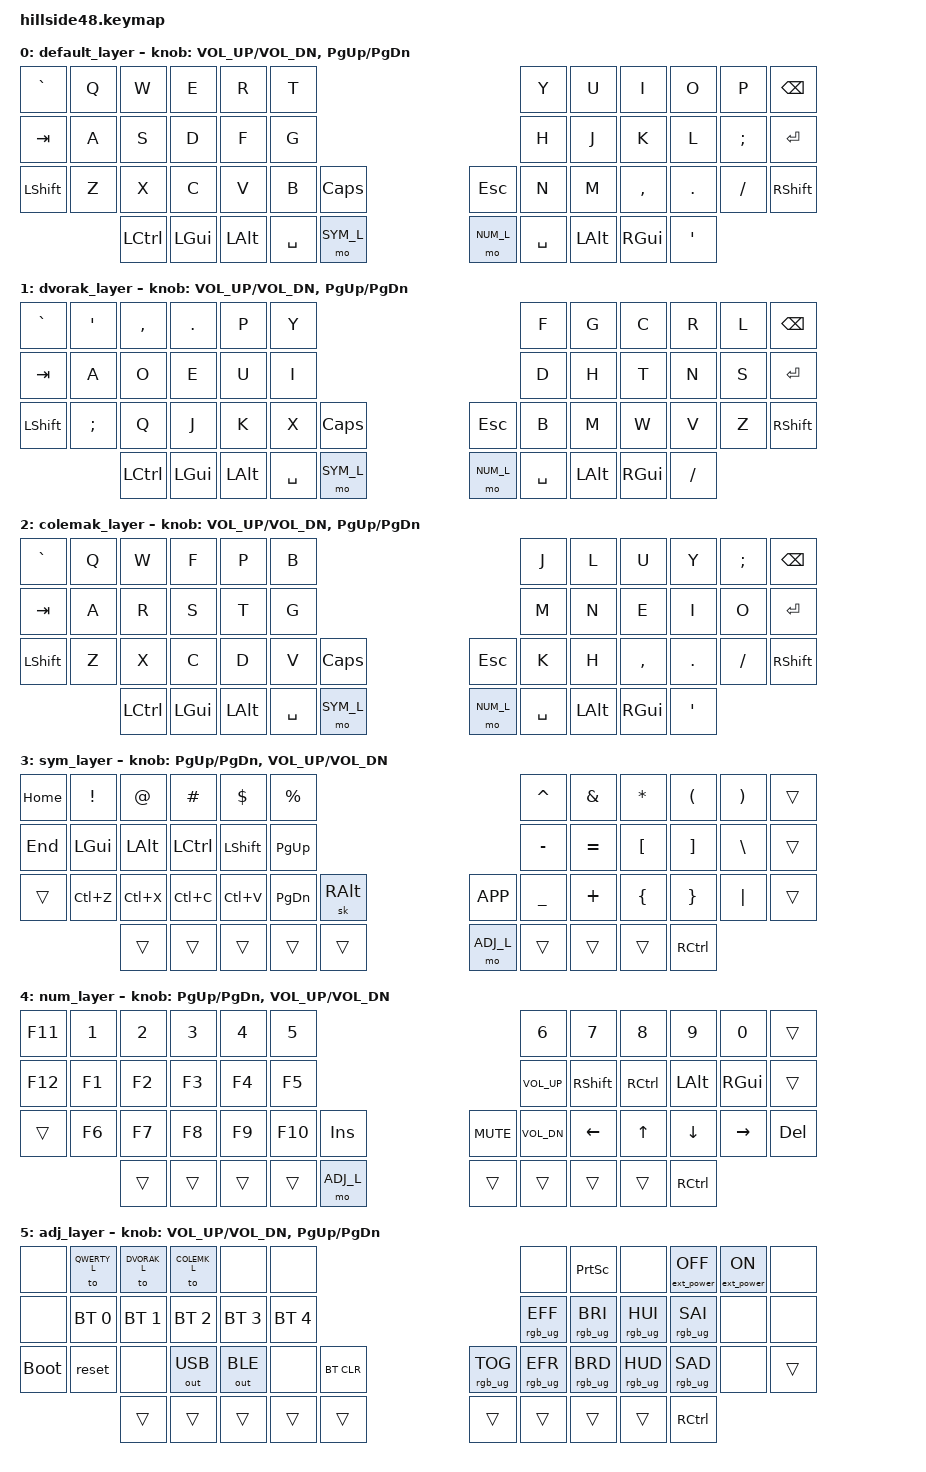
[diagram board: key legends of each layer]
/*
 * Copyright (c) 2022 The ZMK Contributors
 *
 * SPDX-License-Identifier: MIT
 */

#include <behaviors.dtsi>
#include <dt-bindings/zmk/bt.h>
#include <dt-bindings/zmk/ext_power.h>
#include <dt-bindings/zmk/keys.h>
#include <dt-bindings/zmk/outputs.h>
#include <dt-bindings/zmk/rgb.h>

#define QWERTY_L 0
#define DVORAK_L 1
#define COLEMK_L 2
#define SYM_L    3
#define NUM_L    4
#define ADJ_L    5

#define Undo   LC(Z)
#define Cut    LC(X)
#define Copy   LC(C)
#define Paste  LC(V)

/ {
        keymap {
                compatible = "zmk,keymap";

                default_layer {
/* QWERTY
 * -------------------------------------------------------------------------------------------------------------------------------------
 * | `     |   Q   |   W   |   E   |   R   |   T   |-----------------------------------|   Y   |   U   |   I   |   O   |   P   | BKSPC |
 * | TAB   |   A   |   S   |   D   |   F   |   G   |-----------------------------------|   H   |   J   |   K   |   L   |   ;   | ENTER |
 * | SHIFT |   Z   |   X   |   C   |   V   |   B   | CAPS  |-------------------|  ESC  |   N   |   M   |   ,   |   .   |   /   | SHIFT |
 * ----------------| CTRL  |-------|  GUI  |  ALT  | SPACE |  Sym  |---|  Num  | SPACE |  ALT  |  GUI  |-------|   '   |----------------
 */
                        bindings = <
&kp  GRAVE    &kp  Q        &kp  W        &kp  E        &kp  R        &kp  T                                                                         &kp  Y        &kp  U        &kp  I        &kp  O        &kp  P        &kp  BSPC
&kp  TAB      &kp  A        &kp  S        &kp  D        &kp  F        &kp  G                                                                         &kp  H        &kp  J        &kp  K        &kp  L        &kp  SEMI     &kp  ENTER  
&kp  LSHFT    &kp  Z        &kp  X        &kp  C        &kp  V        &kp  B        &kp  CAPS                                          &kp   ESC     &kp  N        &kp  M        &kp  COMMA    &kp  DOT      &kp  SLASH    &kp  RSHFT
                            &kp  LCTRL                  &kp  LGUI     &kp  LALT     &kp  SPACE    &mo  SYM_L             &mo  NUM_L    &kp  SPACE    &kp  LALT     &kp  RGUI                   &kp  SQT   
                        >;
			
                        sensor-bindings = <&inc_dec_kp C_VOL_UP C_VOL_DN &inc_dec_kp PG_UP PG_DN>;
                };
		
                dvorak_layer {
/* DVORAK
 * -------------------------------------------------------------------------------------------------------------------------------------
 * | `     |   '   |   ,   |   .   |   P   |   Y   |-----------------------------------|   F   |   G   |   C   |   R   |   L   | BKSPC |
 * | TAB   |   A   |   O   |   E   |   U   |   I   |-----------------------------------|   D   |   H   |   T   |   N   |   S   | ENTER |
 * | SHIFT |   ;   |   Q   |   J   |   K   |   X   | CAPS  |-------------------|  ESC  |   B   |   M   |   W   |   V   |   Z   | SHIFT |
 * ----------------| CTRL  |-------|  GUI  |  ALT  | SPACE |  Sym  |---|  Num  | SPACE |  ALT  |  GUI  |-------|   /   |----------------
 */
                        bindings = <
&kp  GRAVE    &kp  SQT      &kp  COMMA    &kp  DOT      &kp  P        &kp  Y                                                                         &kp  F        &kp  G        &kp  C        &kp  R        &kp  L        &kp  BSPC
&kp  TAB      &kp  A        &kp  O        &kp  E        &kp  U        &kp  I                                                                         &kp  D        &kp  H        &kp  T        &kp  N        &kp  S        &kp  ENTER
&kp  LSHFT    &kp  SEMI     &kp  Q        &kp  J        &kp  K        &kp  X        &kp  CAPS                                          &kp   ESC     &kp  B        &kp  M        &kp  W        &kp  V        &kp  Z        &kp  RSHFT
                            &kp  LCTRL                  &kp  LGUI     &kp  LALT     &kp  SPACE    &mo  SYM_L             &mo  NUM_L    &kp  SPACE    &kp  LALT     &kp  RGUI                   &kp  SLASH
                        >;
			
                        sensor-bindings = <&inc_dec_kp C_VOL_UP C_VOL_DN &inc_dec_kp PG_UP PG_DN>;
                };
		
                colemak_layer {
/* COLEMAK-DH
 * -------------------------------------------------------------------------------------------------------------------------------------
 * | `     |   Q   |   W   |   F   |   P   |   B   |-----------------------------------|   J   |   L   |   U   |   Y   |   ;   | BKSPC |
 * | TAB   |   A   |   R   |   S   |   T   |   G   |-----------------------------------|   M   |   N   |   E   |   I   |   O   | ENTER |
 * | SHIFT |   Z   |   X   |   C   |   D   |   V   | CAPS  |-------------------|  ESC  |   K   |   H   |   ,   |   .   |   /   | SHIFT |
 * ----------------| CTRL  |-------|  GUI  |  ALT  | SPACE |  Sym  |---|  Num  | SPACE |  ALT  |  GUI  |-------|   '   |----------------
 */
                        bindings = <
&kp  GRAVE    &kp  Q        &kp  W        &kp  F        &kp  P        &kp  B                                                                         &kp  J        &kp  L        &kp  U        &kp  Y        &kp  SEMI     &kp  BSPC
&kp  TAB      &kp  A        &kp  R        &kp  S        &kp  T        &kp  G                                                                         &kp  M        &kp  N        &kp  E        &kp  I        &kp  O        &kp  ENTER
&kp  LSHFT    &kp  Z        &kp  X        &kp  C        &kp  D        &kp  V        &kp  CAPS                                          &kp   ESC     &kp  K        &kp  H        &kp  COMMA    &kp  DOT      &kp  SLASH    &kp  RSHFT
                            &kp  LCTRL                  &kp  LGUI     &kp  LALT     &kp  SPACE    &mo  SYM_L             &mo  NUM_L    &kp  SPACE    &kp  LALT     &kp  RGUI                   &kp  SQT   
                        >;
			
                        sensor-bindings = <&inc_dec_kp C_VOL_UP C_VOL_DN &inc_dec_kp PG_UP PG_DN>;
                };
		
                sym_layer {
/* SYM
 * -------------------------------------------------------------------------------------------------------------------------------------
 * | HOME  |   !   |   @   |   #   |   $   |   %   |-----------------------------------|   ^   |   &   |   *   |   (   |   )   | BSPC  |
 * | END   |  GUI  |  Alt  | Ctrl  | Shift | Pg Up |-----------------------------------|   -   |   =   |   [   |   ]   |   \   | ENTER |
 * | Shift |  UnDo |  Cut  | Copy  | Paste | Pg Dn |OsAltGr|-------------------| MENU  |   _   |   +   |   {   |   }   |   |   | SHIFT |
 * ----------------|       |-------|       |       |       |       |---| ADJ_L |       |       |       |-------| CTRL  |----------------
 */
                        bindings = <
&kp  HOME     &kp  EXCL     &kp  AT       &kp  HASH     &kp  DOLLAR   &kp  PERCENT                                                                   &kp  CARET    &kp  AMPS     &kp  ASTRK    &kp  LPAR     &kp  RPAR     &trans
&kp  END      &kp  LGUI     &kp  LALT     &kp  LCTRL    &kp  LSHFT    &kp  PG_UP                                                                     &kp  MINUS    &kp  EQUAL    &kp  LBKT     &kp  RBKT     &kp  BSLH     &trans
&trans        &kp  Undo     &kp  Cut      &kp  Copy     &kp  Paste    &kp  PG_DN    &sk  RALT                                          &kp  K_APP    &kp  UNDER    &kp  PLUS     &kp  LBRC     &kp  RBRC     &kp  PIPE     &trans
                            &trans                      &trans        &trans        &trans        &trans                 &mo  ADJ_L    &trans        &trans        &trans                      &kp  RCTRL    
                        >;
			
                        sensor-bindings = <&inc_dec_kp PG_UP PG_DN &inc_dec_kp C_VOL_UP C_VOL_DN>;
                };
		
                num_layer {
/* NUM   
 * -------------------------------------------------------------------------------------------------------------------------------------
 * | F11   |   1   |   2   |   3   |   4   |   5   |-----------------------------------|   6   |   7   |   8   |   9   |       | BSPC  |
 * | F12   |  F1   |  F2   |  F3   |  F4   |  F5   |-----------------------------------|VOL UP | Shift | Ctrl  | Alt   | Gui   | ENTER |
 * | Shift |  F6   |  F7   |  F8   |  F9   |  F10  |  INS  |-------------------| MUTE  |VOL DN | Left  |  Up   | Down  | Right | DELETE|
 * ----------------|       |-------|       |       |       | ADJ_L |---|       |       |       |       |-------| CTRL  |----------------
 */
                        bindings = <
&kp  F11      &kp  N1       &kp  N2       &kp  N3       &kp  N4       &kp  N5                                                                        &kp   N6      &kp   N7      &kp   N8      &kp   N9      &kp  N0       &trans
&kp  F12      &kp  F1       &kp  F2       &kp  F3       &kp  F4       &kp  F5                                                                        &kp  C_VOL_UP &kp   RSHFT   &kp   RCTRL   &kp   LALT    &kp  RGUI     &trans
&trans        &kp  F6       &kp  F7       &kp  F8       &kp  F9       &kp  F10      &kp INS                                            &kp  C_MUTE   &kp  C_VOL_DN &kp   LEFT    &kp   UP      &kp   DOWN    &kp  RIGHT    &kp DEL
                            &trans                      &trans        &trans        &trans        &mo ADJ_L              &trans        &trans        &trans        &trans                      &kp  RCTRL   
                        >;
			
                        sensor-bindings = <&inc_dec_kp PG_UP PG_DN &inc_dec_kp C_VOL_UP C_VOL_DN>;
                };
		
                adj_layer {
/* ADJUST
 * -------------------------------------------------------------------------------------------------------------------------------------
 * |       | QWERTY| DVORAK| COLEMK|       |       |-----------------------------------|       |Prt Scr|       | EP_OFF| EP_ON |       |
 * |       | BT 0  | BT 1  | BT 2  | BT 3  | BT 4  |-----------------------------------|       |       |       |       |       |       |
 * | BOOTL | RESET |       |OUT_USB|OUT_BLE|       |BT CLR |-------------------|       |       |       |       |       |       | SHIFT |
 * ----------------|       |-------|       |       |       |       |---|       |       |       |       |-------| CTRL  |----------------
 */
                        bindings = <
&none         &to  QWERTY_L &to  DVORAK_L &to  COLEMK_L &none         &none                                                                             &none             &kp PRINTSCREEN    &none         &ext_power EP_OFF  &ext_power EP_ON &none
&none         &bt  BT_SEL 0 &bt  BT_SEL 1 &bt  BT_SEL 2 &bt  BT_SEL 3 &bt  BT_SEL 4                                                                     &rgb_ug RGB_EFF   &rgb_ug RGB_BRI    &rgb_ug RGB_HUI  &rgb_ug RGB_SAI &none            &none
&bootloader   &reset        &none         &out OUT_USB  &out OUT_BLE  &none         &bt BT_CLR                                         &rgb_ug RGB_TOG  &rgb_ug RGB_EFR   &rgb_ug RGB_BRD    &rgb_ug RGB_HUD  &rgb_ug RGB_SAD &none            &trans
                            &trans                      &trans        &trans        &trans        &trans                 &trans        &trans           &trans            &trans                              &kp  RCTRL   
                        >;
			
                        sensor-bindings = <&inc_dec_kp C_VOL_UP C_VOL_DN &inc_dec_kp PG_UP PG_DN>;
                };
        };
};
